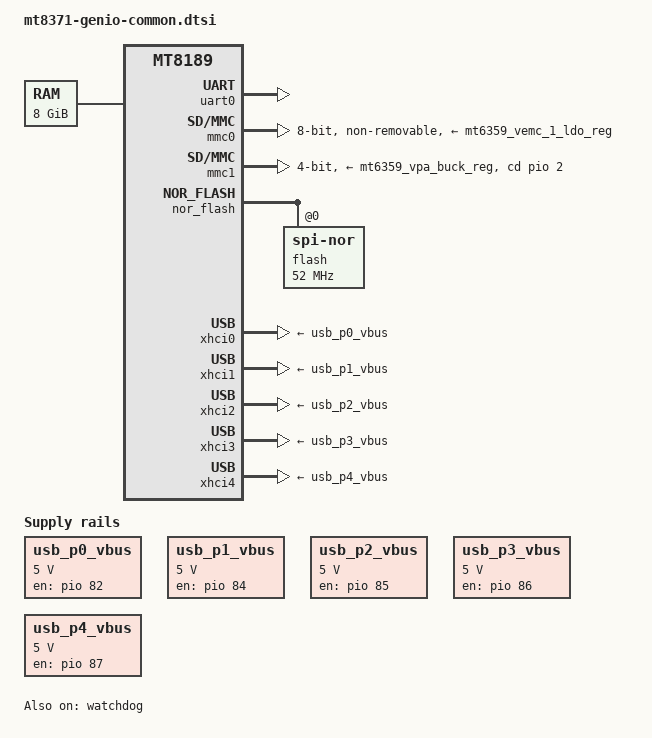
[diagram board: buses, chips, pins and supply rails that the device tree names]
// SPDX-License-Identifier: (GPL-2.0 OR MIT)
/*
 * Copyright (C) 2026 MediaTek Inc.
 * Author: Macpaul Lin <macpaul.lin@mediatek.com>
 */

#include <dt-bindings/gpio/gpio.h>

#include "mt8189.dtsi"
#include "mt8189-pinfunc.h"
#include "mt6359.dtsi"

/ {
	aliases {
		serial0 = &uart0;
	};

	chosen {
		stdout-path = "serial0:921600n8";
	};

	usb_p0_vbus: regulator@0 {
		compatible = "regulator-fixed";
		regulator-name = "p0_vbus";
		regulator-min-microvolt = <5000000>;
		regulator-max-microvolt = <5000000>;
		gpio = <&pio 82 0>;
		enable-active-high;
	};

	usb_p1_vbus: regulator@1 {
		compatible = "regulator-fixed";
		regulator-name = "p1_vbus";
		regulator-min-microvolt = <5000000>;
		regulator-max-microvolt = <5000000>;
		gpio = <&pio 84 0>;
		enable-active-high;
	};

	usb_p2_vbus: regulator@2 {
		compatible = "regulator-fixed";
		regulator-name = "p2_vbus";
		regulator-min-microvolt = <5000000>;
		regulator-max-microvolt = <5000000>;
		gpio = <&pio 85 0>;
		enable-active-high;
	};

	usb_p3_vbus: regulator@3 {
		compatible = "regulator-fixed";
		regulator-name = "p3_vbus";
		regulator-min-microvolt = <5000000>;
		regulator-max-microvolt = <5000000>;
		gpio = <&pio 86 0>;
		enable-active-high;
	};

	usb_p4_vbus: regulator@4 {
		compatible = "regulator-fixed";
		regulator-name = "p4_vbus";
		regulator-min-microvolt = <5000000>;
		regulator-max-microvolt = <5000000>;
		gpio = <&pio 87 0>;
		enable-active-high;
	};

	firmware {
		optee {
			compatible = "linaro,optee-tz";
			method = "smc";
		};

		psci {
			compatible = "arm,psci-1.0";
			method = "smc";
		};
	};

	memory@40000000 {
		/* 8GB */
		device_type = "memory";
		reg = <0 0x40000000 0x2 0x00000000>;
	};

	reserved-memory {
		#address-cells = <2>;
		#size-cells = <2>;
		ranges;

		/* 2 MiB reserved for ARM Trusted Firmware (BL31) */
		bl31_secmon_reserved: secmon@54600000 {
			no-map;
			reg = <0 0x54600000 0x0 0x200000>;
		};

		/* 12 MiB reserved for OP-TEE (BL32)
		 * +-----------------------+ 0x43e0_0000
		 * |      SHMEM 2MiB       |
		 * +-----------------------+ 0x43c0_0000
		 * |        | TA_RAM  8MiB |
		 * + TZDRAM +--------------+ 0x4340_0000
		 * |        | TEE_RAM 2MiB |
		 * +-----------------------+ 0x4320_0000
		 */
		optee_reserved: optee@43200000 {
			no-map;
			reg = <0 0x43200000 0 0x00c00000>;
		};

		dsi_reserved: dsi@60000000 {
			reg = <0 0x60000000 0 0x02000000>;
			no-map;
		};
	};
};

&watchdog {
	status = "okay";
};

&uart0 {
	pinctrl-0 = <&uart0_pins>;
	pinctrl-names = "default";
	status = "okay";
};

&mmc0 {
	bus-width = <8>;
	max-frequency = <200000000>;
	cap-mmc-highspeed;
	mmc-hs200-1_8v;
	mmc-hs400-1_8v;
	hs400-ds-delay = <0x1481b>;
	cap-mmc-hw-reset;
	vmmc-supply = <&mt6359_vemc_1_ldo_reg>;
	vqmmc-supply = <&mt6359_vufs_ldo_reg>;
	non-removable;
	pinctrl-names = "default", "state_uhs";
	pinctrl-0 = <&mmc0_default_pins>;
	pinctrl-1 = <&mmc0_uhs_pins>;
	status = "okay";
};

&mmc1 {
	bus-width = <4>;
	cap-sd-highspeed;
	cd-gpios = <&pio 2 GPIO_ACTIVE_HIGH>;
	max-frequency = <200000000>;
	no-mmc;
	no-sdio;
	sd-uhs-sdr50;
	sd-uhs-sdr104;
	pinctrl-names = "default", "state_uhs";
	pinctrl-0 = <&mmc1_default_pins>;
	pinctrl-1 = <&mmc1_uhs_pins>;
	vmmc-supply = <&mt6359_vpa_buck_reg>;
	vqmmc-supply = <&mt6359_vsim1_ldo_reg>;
	status = "okay";
};

&mt6359_vufs_ldo_reg {
	regulator-always-on;
};

&nor_flash {
	pinctrl-names = "default";
	pinctrl-0 = <&nor_pins>;

	status = "okay";

	flash@0 {
		compatible = "jedec,spi-nor";
		reg = <0>;
		spi-max-frequency = <52000000>;
		spi-rx-bus-width = <2>;
		spi-tx-bus-width = <2>;
	};
};

&pio {
	mmc0_default_pins: mmc0-default-pins {
		pins-clk {
			pinmux = <PINMUX_GPIO162__FUNC_MSDC0_CLK>;
			drive-strength = <6>;
			bias-pull-down = <MTK_PUPD_SET_R1R0_10>;
		};

		pins-cmd-dat {
			pinmux = <PINMUX_GPIO166__FUNC_MSDC0_DAT0>,
				 <PINMUX_GPIO165__FUNC_MSDC0_DAT1>,
				 <PINMUX_GPIO164__FUNC_MSDC0_DAT2>,
				 <PINMUX_GPIO163__FUNC_MSDC0_DAT3>,
				 <PINMUX_GPIO159__FUNC_MSDC0_DAT4>,
				 <PINMUX_GPIO158__FUNC_MSDC0_DAT5>,
				 <PINMUX_GPIO157__FUNC_MSDC0_DAT6>,
				 <PINMUX_GPIO156__FUNC_MSDC0_DAT7>,
				 <PINMUX_GPIO161__FUNC_MSDC0_CMD>;
			input-enable;
			drive-strength = <6>;
			bias-pull-up = <MTK_PUPD_SET_R1R0_01>;
		};

		pins-rst {
			pinmux = <PINMUX_GPIO160__FUNC_MSDC0_RSTB>;
			drive-strength = <6>;
			bias-pull-up = <MTK_PUPD_SET_R1R0_00>;
		};
	};

	mmc0_uhs_pins: mmc0-uhs-pins {
		pins-clk {
			pinmux = <PINMUX_GPIO162__FUNC_MSDC0_CLK>;
			drive-strength = <8>;
			bias-pull-down = <MTK_PUPD_SET_R1R0_10>;
		};

		pins-cmd-dat {
			pinmux = <PINMUX_GPIO166__FUNC_MSDC0_DAT0>,
				 <PINMUX_GPIO165__FUNC_MSDC0_DAT1>,
				 <PINMUX_GPIO164__FUNC_MSDC0_DAT2>,
				 <PINMUX_GPIO163__FUNC_MSDC0_DAT3>,
				 <PINMUX_GPIO159__FUNC_MSDC0_DAT4>,
				 <PINMUX_GPIO158__FUNC_MSDC0_DAT5>,
				 <PINMUX_GPIO157__FUNC_MSDC0_DAT6>,
				 <PINMUX_GPIO156__FUNC_MSDC0_DAT7>,
				 <PINMUX_GPIO161__FUNC_MSDC0_CMD>;
			input-enable;
			drive-strength = <8>;
			bias-pull-up = <MTK_PUPD_SET_R1R0_01>;
		};

		pins-ds {
			pinmux = <PINMUX_GPIO167__FUNC_MSDC0_DSL>;
			drive-strength = <8>;
			bias-pull-down = <MTK_PUPD_SET_R1R0_10>;
		};

		pins-rst {
			pinmux = <PINMUX_GPIO160__FUNC_MSDC0_RSTB>;
			bias-pull-up = <MTK_PUPD_SET_R1R0_00>;
		};
	};

	mmc1_default_pins: mmc1-default-pins {
		pins-clk {
			pinmux = <PINMUX_GPIO169__FUNC_MSDC1_CLK>;
			drive-strength = <6>;
			bias-pull-down = <MTK_PUPD_SET_R1R0_10>;
		};

		pins-cmd-dat {
			pinmux = <PINMUX_GPIO170__FUNC_MSDC1_DAT0>,
				 <PINMUX_GPIO171__FUNC_MSDC1_DAT1>,
				 <PINMUX_GPIO172__FUNC_MSDC1_DAT2>,
				 <PINMUX_GPIO173__FUNC_MSDC1_DAT3>,
				 <PINMUX_GPIO168__FUNC_MSDC1_CMD>;
			input-enable;
			drive-strength = <6>;
			bias-pull-up = <MTK_PUPD_SET_R1R0_01>;
		};

		pins-insert {
			pinmux = <PINMUX_GPIO2__FUNC_GPIO2>;
			bias-pull-up;
		};
	};

	mmc1_uhs_pins: mmc1-uhs-pins {
		pins-clk {
			pinmux = <PINMUX_GPIO169__FUNC_MSDC1_CLK>;
			drive-strength = <8>;
			bias-pull-down = <MTK_PUPD_SET_R1R0_10>;
		};

		pins-cmd-dat {
			pinmux = <PINMUX_GPIO170__FUNC_MSDC1_DAT0>,
				 <PINMUX_GPIO171__FUNC_MSDC1_DAT1>,
				 <PINMUX_GPIO172__FUNC_MSDC1_DAT2>,
				 <PINMUX_GPIO173__FUNC_MSDC1_DAT3>,
				 <PINMUX_GPIO168__FUNC_MSDC1_CMD>;
			input-enable;
			drive-strength = <8>;
			bias-pull-up = <MTK_PUPD_SET_R1R0_01>;
		};

		pins-insert {
			pinmux = <PINMUX_GPIO2__FUNC_GPIO2>;
			bias-pull-up;
		};
	};

	nor_pins: nor-pins {
		pins-ck-io {
			pinmux = <PINMUX_GPIO150__FUNC_SPINOR_CK>,
				 <PINMUX_GPIO152__FUNC_SPINOR_IO0>,
				 <PINMUX_GPIO153__FUNC_SPINOR_IO1>;
			drive-strength = <8>;
			bias-pull-down;
		};

		pins-cs {
			pinmux = <PINMUX_GPIO151__FUNC_SPINOR_CS>;
			drive-strength = <8>;
			bias-pull-up;
		};
	};

	uart0_pins: uart0-pins {
		pins {
			pinmux = <PINMUX_GPIO31__FUNC_UTXD0>,
				 <PINMUX_GPIO32__FUNC_URXD0>;
			bias-pull-up;
		};
	};
};

&pmic {
	interrupts-extended = <&pio 194 IRQ_TYPE_LEVEL_HIGH>;
};

&xhci0{
	vbus-supply = <&usb_p0_vbus>;
	status = "okay";
};

&xhci1{
	vbus-supply = <&usb_p1_vbus>;
	status = "okay";
};

&xhci2{
	vbus-supply = <&usb_p2_vbus>;
	status = "okay";
};

&xhci3{
	vbus-supply = <&usb_p3_vbus>;
	status = "okay";
};

&xhci4{
	vbus-supply = <&usb_p4_vbus>;
	status = "okay";
};
